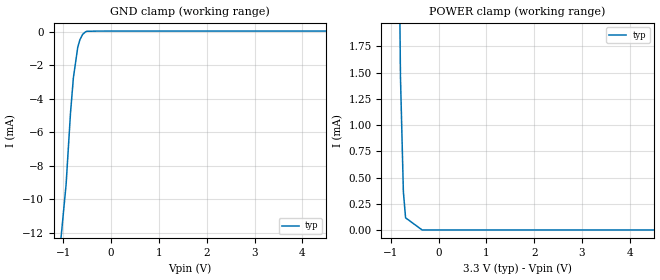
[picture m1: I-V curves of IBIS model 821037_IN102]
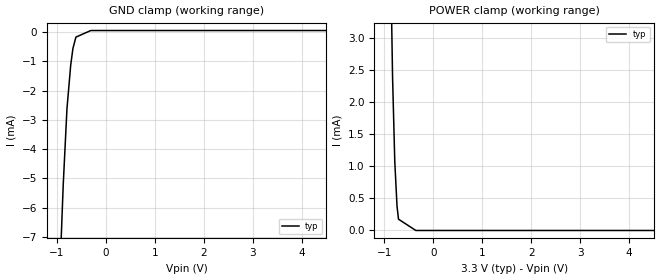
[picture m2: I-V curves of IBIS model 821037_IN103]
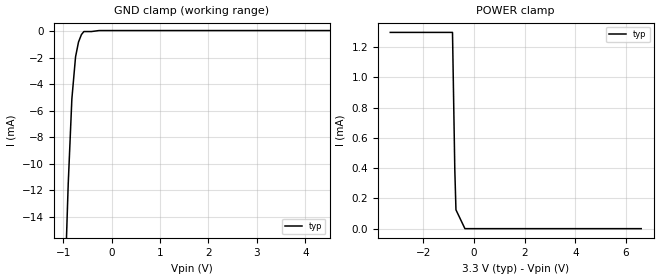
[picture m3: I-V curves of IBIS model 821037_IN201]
| COPYRIGHT(C) MENTOR GRAPHICS CORPORATION 2002 ALL
| RIGHTS RESERVED. THIS WORK CONTAINS PROPRIETARY
| INFORMATION WHICH IS THE PROPERTY OF MENTOR GRAPHICS
| CORPORATION OR ITS LICENSORS. USE OF THESE MATERIALS
| IS SUBJECT TO THE TERMS BELOW.
| USE: MENTOR GRAPHICS HAS LICENSED IBIS MODELS TO
| SPECIFIC INTEGRATED CIRCUIT SUPPLIERS ("IC VENDORS")
| FOR USE AND DISTRIBUTION AS FOLLOWS: EACH IC VENDOR
| MAY USE IBIS MODELS, AND DISTRIBUTE THEM TO IC VENDOR'S
| CUSTOMERS TO USE, SOLELY FOR DEVELOPING PRINTED
| CIRCUIT BOARD DESIGNS. NO OTHER USE OR DISTRIBUTION
| OF THESE MATERIALS IS PERMITTED.
| DISCLAIMER OF WARRANTY:  UNLESS OTHERWISE AGREED
| IN WRITING, MENTOR GRAPHICS SOFTWARE AND ASSOCIATED
| FILES ARE PROVIDED "AS IS" AND WITHOUT WARRANTY.
| MENTOR GRAPHICS HAS NO OBLIGATION TO SUPPORT OR
| OTHERWISE MAINTAIN SOFTWARE.  MENTOR GRAPHICS MAKES
| NO WARRANTIES, EXPRESS OR IMPLIED WITH RESPECT TO
| SOFTWARE INCLUDING ANY WARRANTY OF MERCHANTABILITY
| OR FITNESS FOR A PARTICULAR PURPOSE.
| LIMITATION OF LIABILITY:  MENTOR GRAPHICS IS NOT LIABLE FOR
| ANY PROPERTY DAMAGE, PERSONAL INJURY, LOSS OF PROFITS,
| INTERRUPTION OF BUSINESS, OR FOR ANY OTHER SPECIAL,
| CONSEQUENTIAL OR INCIDENTAL DAMAGES, HOWEVER CAUSED,
| WHETHER FOR BREACH OF WARRANTY, CONTRACT, TORT
| (INCLUDING NEGLIGENCE), STRICT LIABILITY OR OTHERWISE. IN NO
| EVENT SHALL MENTOR GRAPHICS' LIABILITY EXCEED THE AMOUNT
| PAID FOR THE PRODUCT GIVING RISE TO THE CLAIM.
| TRADEMARKS:  THE FOLLOWING ARE REGISTERED TRADEMARKS
| OR SERVICE MARKS OF MENTOR GRAPHICS CORPORATION:
| ICX, ICX STANDARD LIBRARY, ICX PROJECT MODELING,
| AND ICX CUSTOM MODELING.  THE FOLLOWING ARE TRADEMARKS
| OR SERVICE MARKS OF MENTOR GRAPHICS CORPORATION:
| QUALITYIBIS, MODELVIEWER, AND MODELEDITOR. ALL OTHER
| BRANDS AND PRODUCT NAMES ARE TRADEMARKS OF THEIR
| RESPECTIVE OWNERS.
| COPIES:  ALL COPIES OF SOFTWARE, INCLUDING BUT NOT LIMITED
| TO ANY MODIFICATIONS, ENHANCEMENTS OR DERIVATIVE WORKS
| MUST CONTAIN ALL MENTOR GRAPHICS' NOTICES AND LEGENDS,
| INCLUDING THOSE EMBEDDED IN SOFTWARE AND THOSE AFFIXED
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[IBIS Ver] 3.1
[File Name] nbsg53aba_33_800.ibs
[File Rev] 2.0
[Source] Measured and created by ICX Technology
[Date] Friday 5/31/02 3:22:10 PM
[Copyright]
| COPYRIGHT(C) MENTOR GRAPHICS CORPORATION 2002 ALL
| RIGHTS RESERVED. THIS WORK CONTAINS PROPRIETARY
| INFORMATION WHICH IS THE PROPERTY OF MENTOR GRAPHICS
| CORPORATION OR ITS LICENSORS. USE OF THESE MATERIALS
| IS SUBJECT TO THE TERMS BELOW.
| USE: MENTOR GRAPHICS HAS LICENSED IBIS MODELS TO
| SPECIFIC INTEGRATED CIRCUIT SUPPLIERS ("IC VENDORS")
| FOR USE AND DISTRIBUTION AS FOLLOWS: EACH IC VENDOR
| MAY USE IBIS MODELS, AND DISTRIBUTE THEM TO IC VENDOR'S
| CUSTOMERS TO USE, SOLELY FOR DEVELOPING PRINTED
| CIRCUIT BOARD DESIGNS. NO OTHER USE OR DISTRIBUTION
| OF THESE MATERIALS IS PERMITTED.
|  ZAP Model Builder 3.2
[Component] NBSG53ABA_33_800
[Manufacturer] OnSemiconductor
[Package]
| variable   typ   min   max
R_pkg  .151ohms NA NA
L_pkg  1.701nH NA NA
C_pkg  1.097pF NA NA
[Pin] signal_name  model_name  R_pin  L_pin C_pin
A1 _VTD NC .158 1.726n 1.113p
A2 _D 821037_IN102 .153 1.675n 1.08p
A3 D 821037_IN103 .153 1.675n 1.08p
A4 VTD NC .158 1.726n 1.113p
B1 CLK 821037_IN201 .149 1.726n 1.113p
B2 VTCLK NC .144 1.675n 1.08p
B3 VCC POWER .144 1.675n 1.08p
B4 Q 821037_OUT204 .149 1.726n 1.113p
C1 _CLK 821037_IN301 .149 1.726n 1.113p
C2 _VTCLK NC .144 1.675n 1.08p
C3 VEE POWER .144 1.675n 1.08p
C4 _Q 821037_OUT204 .149 1.726n 1.113p
D1 VCC POWER .158 1.726n 1.113p
D2 R 821037_IN402 .153 1.675n 1.08p
D3 SEL 821037_IN403 .153 1.675n 1.08p
D4 OLS 821037_IN404 .158 1.726n 1.113p
[Diff Pin] inv_pin vdiff tdelay_typ tdelay_min tdelay_max
A3 A2 200mV NA NA NA
B1 C1 200mV NA NA NA
B4 C4 NA NA NA NA
[Series Pin Mapping]   pin_2   model_name
A1   A2   series_r_50
A4   A3   series_r_50
B2   B1   series_r_50
C2   C1   series_r_50
[Model]   series_r_50
Model_type   Series
C_comp   0   NA   NA
[Voltage range]   0   NA   NA
|   typ   min   max
[R series]   50   45   55
| Models and submodels in the file (9): series_r_50 (Series), 821037_IN102 (Input_ECL), 821037_IN103 (Input_ECL), 821037_IN201 (Input_ECL), 821037_IN301 (Input_ECL), 821037_IN402 (Input), 821037_IN403 (Input), 821037_IN404 (Input), 821037_OUT204 (Output_ECL)
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| COPYRIGHT(C) MENTOR GRAPHICS CORPORATION 2002 ALL
| RIGHTS RESERVED. THIS WORK CONTAINS PROPRIETARY
| INFORMATION WHICH IS THE PROPERTY OF MENTOR GRAPHICS
| CORPORATION OR ITS LICENSORS. USE OF THESE MATERIALS
| IS SUBJECT TO THE TERMS BELOW.
| USE: MENTOR GRAPHICS HAS LICENSED IBIS MODELS TO
| SPECIFIC INTEGRATED CIRCUIT SUPPLIERS ("IC VENDORS")
| FOR USE AND DISTRIBUTION AS FOLLOWS: EACH IC VENDOR
| MAY USE IBIS MODELS, AND DISTRIBUTE THEM TO IC VENDOR'S
| CUSTOMERS TO USE, SOLELY FOR DEVELOPING PRINTED
| CIRCUIT BOARD DESIGNS. NO OTHER USE OR DISTRIBUTION
| OF THESE MATERIALS IS PERMITTED.
| Model Application Version 1.89 2/18/99.
[Model] 821037_IN102
Model_type Input_ECL
Vinl = 1.575V
Vinh = 1.725V
C_comp 500.0fF NA NA
| variable typ   min   max
[Voltage Range] 3.300V NA NA
[GND Clamp Reference] 0.000V NA NA
[POWER Clamp Reference] 3.300V NA NA
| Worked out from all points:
|   GND clamp passes 1 mA (typ) near -0.70 V on its own axis
|   POWER clamp passes 1 mA (typ) near -0.77 V on its own axis
[GND Clamp]
-3.3V     -79.91mA   NA         NA
-942.8mV  -9.104mA   NA         NA
-851.5mV  -4.856mA   NA         NA
-790.6mV  -2.732mA   NA         NA
-699.6mV  -920.5uA   NA         NA
-654mV    -460.1uA   NA         NA
-598mV    -148.8uA   NA         NA
-507mV    45.8uA     NA         NA
6.6V      55.38uA    NA         NA
[POWER Clamp]
-3.3V     113.8mA    NA         NA
-799.4mV  1.459mA    NA         NA
-738.4mV  363.2uA    NA         NA
-692.8mV  115.8uA    NA         NA
-346.4mV  0A         NA         NA
6.6V      0A         NA         NA
| COPYRIGHT(C) MENTOR GRAPHICS CORPORATION 2002 ALL
| RIGHTS RESERVED. THIS WORK CONTAINS PROPRIETARY
| INFORMATION WHICH IS THE PROPERTY OF MENTOR GRAPHICS
| CORPORATION OR ITS LICENSORS. USE OF THESE MATERIALS
| IS SUBJECT TO THE TERMS BELOW.
| USE: MENTOR GRAPHICS HAS LICENSED IBIS MODELS TO
| SPECIFIC INTEGRATED CIRCUIT SUPPLIERS ("IC VENDORS")
| FOR USE AND DISTRIBUTION AS FOLLOWS: EACH IC VENDOR
| MAY USE IBIS MODELS, AND DISTRIBUTE THEM TO IC VENDOR'S
| CUSTOMERS TO USE, SOLELY FOR DEVELOPING PRINTED
| CIRCUIT BOARD DESIGNS. NO OTHER USE OR DISTRIBUTION
| OF THESE MATERIALS IS PERMITTED.
| Model Application Version 1.89 2/18/99.
[Model] 821037_IN103
Model_type Input_ECL
Vinl = 1.575V
Vinh = 1.725V
C_comp 500.0fF NA NA
| variable typ   min   max
[Voltage Range] 3.300V NA NA
[GND Clamp Reference] 0.000V NA NA
[POWER Clamp Reference] 3.300V NA NA
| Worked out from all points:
|   GND clamp passes 1 mA (typ) near -0.70 V on its own axis
|   POWER clamp passes 1 mA (typ) near -0.78 V on its own axis
[GND Clamp]
-3.3V     -113.1mA   NA         NA
-866.9mV  -5.214mA   NA         NA
-790.6mV  -2.615mA   NA         NA
-714.7mV  -1.132mA   NA         NA
-669.1mV  -561uA     NA         NA
-608.2mV  -171uA     NA         NA
-304.1mV  54.13uA    NA         NA
6.6V      54.13uA    NA         NA
[POWER Clamp]
-3.3V     118.1mA    NA         NA
-829.6mV  2.391mA    NA         NA
-784.1mV  1.071mA    NA         NA
-738.4mV  377.6uA    NA         NA
-708.2mV  175.1uA    NA         NA
-354.1mV  0A         NA         NA
6.6V      0A         NA         NA
| COPYRIGHT(C) MENTOR GRAPHICS CORPORATION 2002 ALL
| RIGHTS RESERVED. THIS WORK CONTAINS PROPRIETARY
| INFORMATION WHICH IS THE PROPERTY OF MENTOR GRAPHICS
| CORPORATION OR ITS LICENSORS. USE OF THESE MATERIALS
| IS SUBJECT TO THE TERMS BELOW.
| USE: MENTOR GRAPHICS HAS LICENSED IBIS MODELS TO
| SPECIFIC INTEGRATED CIRCUIT SUPPLIERS ("IC VENDORS")
| FOR USE AND DISTRIBUTION AS FOLLOWS: EACH IC VENDOR
| MAY USE IBIS MODELS, AND DISTRIBUTE THEM TO IC VENDOR'S
| CUSTOMERS TO USE, SOLELY FOR DEVELOPING PRINTED
| CIRCUIT BOARD DESIGNS. NO OTHER USE OR DISTRIBUTION
| OF THESE MATERIALS IS PERMITTED.
| Model Application Version 1.89 2/18/99.
[Model] 821037_IN201
Model_type Input_ECL
Vinl = 1.575V
Vinh = 1.725V
C_comp 500.0fF NA NA
| variable typ   min   max
[Voltage Range] 3.300V NA NA
[GND Clamp Reference] 0.000V NA NA
[POWER Clamp Reference] 3.300V NA NA
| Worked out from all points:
|   GND clamp passes 1 mA (typ) near -0.69 V on its own axis
|   POWER clamp passes 1 mA (typ) near -0.81 V on its own axis
[GND Clamp]
-3.3V     -284.9mA   NA         NA
-897.1mV  -11.55mA   NA         NA
-821.3mV  -5.095mA   NA         NA
-745.3mV  -1.934mA   NA         NA
-684.3mV  -815.5uA   NA         NA
-623.7mV  -248.9uA   NA         NA
-572.9mV  -23.1uA    NA         NA
-417mV    -23.1uA    NA         NA
-261.1mV  52.21uA    NA         NA
6.6V      52.21uA    NA         NA
[POWER Clamp]
-3.3V     1.296mA    NA         NA
-844.6mV  1.296mA    NA         NA
-753.6mV  388.7uA    NA         NA
-708.1mV  124.3uA    NA         NA
-354.1mV  0A         NA         NA
6.6V      0A         NA         NA
